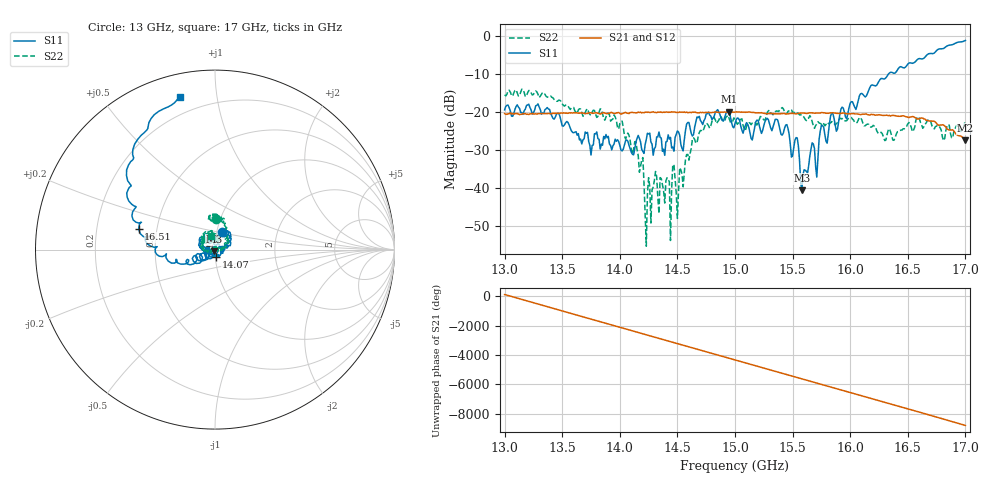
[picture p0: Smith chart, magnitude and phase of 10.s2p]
!Keysight Technologies,P9374A,MY57211807,A.19.30.04
!Date: Friday, May 01, 2026 14:08:13
!Correction: S11(C  2-Port  )
!S21(C  2-Port  )
!S12(C  2-Port  )
!S22(C  2-Port  )
!S2P File: Measurements: S11, S21, S12, S22:
# Hz S  RI  R 50
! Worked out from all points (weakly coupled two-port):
!   401 points, 13 GHz to 17 GHz, reference 50 ohm
!   highest |S21| = -19.95 dB at 14.95 GHz (marker M1); lowest = -27.5 dB at 17 GHz (marker M2)
!   lowest |S11| = -40.7 dB at 15.58 GHz (marker M3), VSWR 1.02, Z = 49.7 - j0.856 ohm
!   |S11| at or under -10 dB: start of sweep to 16.33 GHz
!   |S22| runs from -55.4 to -14.0 dB; largest |S21 - S12| = 0.0041
!   S11 on the Smith chart (normalised r, x): 13 GHz: 1.05, +0.21; 14.07 GHz: 1.01, -0.08; 16.51 GHz: 0.39, +0.11; 17 GHz: 0.11, +0.79
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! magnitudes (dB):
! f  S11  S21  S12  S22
! 13 GHz  -19.5  -20.5  -20.4  -15.5
! 13.37 GHz  -18.9  -20.5  -20.5  -16.1
! 13.67 GHz  -28.4  -20.2  -20.3  -20.2
! 14.07 GHz  -27.7  -20.4  -20.3  -25.6
! 14.18 GHz  -27.9  -20.0  -20.2  -34.5
! 14.23 GHz  -27.2  -20.1  -20.0  -55.4
! 14.3 GHz  -29.7  -20.1  -20.0  -38.1
! 14.34 GHz  -25.3  -20.1  -20.0  -46.8
! 14.5 GHz  -25.0  -20.1  -20.1  -48.1
! 14.64 GHz  -26.0  -20.1  -20.0  -26.8
! 14.95 GHz  -20.1  -19.9  -19.9  -21.9
! 15 GHz  -23.1  -20.1  -20.0  -22.1
! 15.45 GHz  -23.4  -20.5  -20.5  -20.5
! 15.54 GHz  -26.9  -20.5  -20.5  -20.3
! 15.58 GHz  -40.7  -20.3  -20.2  -20.8
! 15.67 GHz  -28.2  -20.3  -20.3  -22.6
! 15.71 GHz  -37.2  -20.3  -20.3  -23.2
! 15.75 GHz  -23.6  -20.2  -20.2  -23.2
! 15.84 GHz  -20.3  -20.2  -20.3  -22.5
! 16.34 GHz  -9.8  -20.9  -21.0  -24.4
! 16.51 GHz  -7.1  -21.5  -21.5  -22.8
! 17 GHz  -1.2  -27.5  -27.5  -22.2
